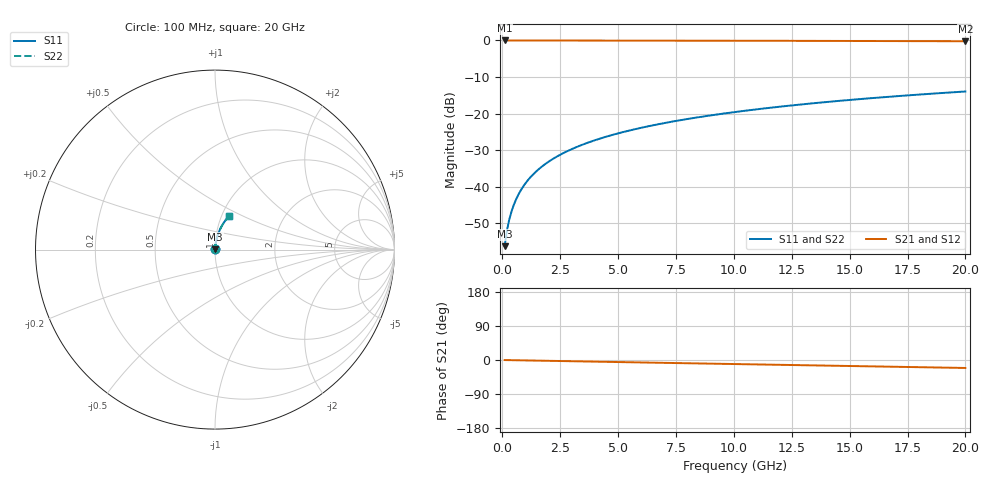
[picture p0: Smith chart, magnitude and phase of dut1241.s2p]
! Touchstone file exported from HFSS 2026.1.0
!  File:  C:/ffzhzh/LocalFiles/Ansys_Project_Files/temp_train_BSMRDL_1241_1783177175_22436.aedt
!  Generated:  11:00:47 PM Jul  4, 2026
!  Design:  BSMRDL
!  Project:  temp_train_BSMRDL_1241_1783177175_22436
! Variables:
!  h_bsmrdl = 5.3um
!  h_ox = 20um
!  h_rdl = 5um
!  h_sub = 80um
!  h_tmrdl = 5um
!  h_tsv = 80um
!  h_via = 3um
!  l_bsmrdl = 280.78um
!  l_sub = 680.78um
!  l_tmrdl = 200um
!  m_sub = 200um
!  pitch = 49.72um
!  r_tsv = 6um
!  s_tmrdl = 10um
!  w_bsmrdl = 22.8um
!  w_sub = 500um
!  w_tmrdl = 12um
!  x_tsv_center1 = 206um
!  x_tsv_center2 = 509.58um
!  x_tsv_center3 = 721.58um
!  x_tsv_center4 = 1025.16um
!  x_tsv_center5 = 1237.16um
!  x_tsv_center6 = 1540.74um
# GHz S MA R 50.000000
! Terminal data exported
! Port[1] = BSM_RDL1_1_T1
! Port[2] = BSM_RDL1_1_T2
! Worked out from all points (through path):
!   200 points, 100 MHz to 20 GHz, reference 50 ohm
!   highest |S21| = -0.01 dB at 100 MHz (marker M1); lowest = -0.2 dB at 20 GHz (marker M2)
!   group delay of S21, straight-line fit = 2.92 ps
!   lowest |S11| = -56.3 dB at 100 MHz (marker M3), VSWR 1.00, Z = 50.1 + j0.119 ohm
!   |S11| at or under -10 dB: start of sweep to end of sweep
!   |S22| runs from -56.3 to -14.0 dB; largest |S21 - S12| = 2.3e-15
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0.1  0.001537 50.4  0.999 -0.1  0.999 -0.1  0.001537 50.4
! Gamma 0 0 0 0
! Port Impedance 50 0 50 0
0.2  0.002514 65.4  0.999 -0.2  0.999 -0.2  0.002514 65.4
0.3  0.003545 72.1  0.9989 -0.3  0.9989 -0.3  0.003545 72.1
0.4  0.004604 75.9  0.9988 -0.4  0.9988 -0.4  0.004603 75.9
0.5  0.005677 78.2  0.9988 -0.6  0.9988 -0.6  0.005677 78.2
0.7  0.007845 80.8  0.9988 -0.8  0.9988 -0.8  0.007845 80.8
0.8  0.008934 81.6  0.9987 -0.9  0.9987 -0.9  0.008934 81.6
1  0.01112 82.7  0.9987 -1.1  0.9987 -1.1  0.01112 82.7
1.2  0.0133 83.2  0.9986 -1.3  0.9986 -1.3  0.0133 83.2
1.4  0.01547 83.6  0.9985 -1.5  0.9985 -1.5  0.01547 83.6
1.7  0.01873 83.8  0.9984 -1.9  0.9984 -1.9  0.01873 83.8
2  0.02197 83.8  0.9982 -2.2  0.9982 -2.2  0.02197 83.8
2.7  0.02947 83.6  0.9978 -3.0  0.9978 -3.0  0.02947 83.6
3.5  0.03794 83.0  0.9972 -3.8  0.9972 -3.8  0.03794 83.0
4.2  0.04528 82.4  0.9966 -4.6  0.9966 -4.6  0.04528 82.4
5  0.05359 81.7  0.9959 -5.4  0.9959 -5.4  0.05359 81.7
6.8  0.07211 80.1  0.9942 -7.3  0.9942 -7.3  0.07211 80.1
8.3  0.08736 78.8  0.9926 -8.9  0.9926 -8.9  0.08736 78.8
10.1  0.1055 77.1  0.9905 -10.8  0.9905 -10.8  0.1055 77.1
13.4  0.138 73.9  0.9859 -14.3  0.9859 -14.3  0.138 73.9
16.7  0.1697 70.6  0.9805 -17.7  0.9805 -17.7  0.1697 70.6
20  0.2003 67.4  0.9743 -21.0  0.9743 -21.0  0.2003 67.4
